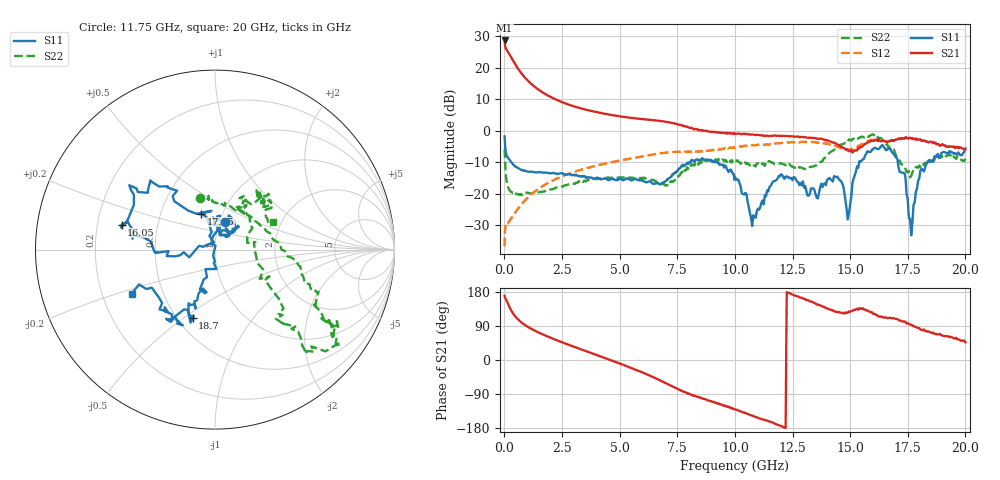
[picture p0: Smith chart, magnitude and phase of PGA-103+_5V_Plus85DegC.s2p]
!Mini-Circuits Laboratory
!S-Parameters, Port extension performed
!Model: PGA-103+
!Run / Lot / Date Code: N/A / BP170-001-01-101EV / 1210
!Fixture: TB-313
!Network Analyzer: PNA-X N5242A - 423 4 ports;  Serial number: 71013
!Date: 5/23/2012 at 10:41:20 AM
!S/N: Unit# 1
!Tested with: VDD=5V AT +85C
# Hz  S  dB  R  50
!Frequency  S11 dB  S11 Deg  S21 dB  S21 Deg  S12 dB  S12 Deg  S22 dB  S22 Deg
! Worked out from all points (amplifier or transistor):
!   660 points, 10 MHz to 20 GHz, reference 50 ohm
!   highest |S21| = 28.6 dB at 10 MHz (marker M1)
!   |S21| within 3 dB of that: start of sweep to 99.22 MHz
!   unconditionally stable (mu >= 1): 151.5 MHz to 15.21 GHz; 16.81 GHz to end of sweep
!   at 1.275 GHz: K = 1.12, MAG = 14.7 dB, |S12| = -19.5 dB
!   at 6.775 GHz: K = 1.06, MAG = 3.7 dB, |S12| = -7.1 dB
!   at 20 GHz: K = 1.49, MAG = -4.1 dB, |S12| = -5.9 dB
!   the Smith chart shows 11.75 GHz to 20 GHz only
!   S11 on the Smith chart (normalised r, x): 11.75 GHz: 1.06, +0.33; 16.05 GHz: 0.30, +0.12; 17.35 GHz: 0.80, +0.34; 18.7 GHz: 0.60, -0.54; 20 GHz: 0.33, -0.22
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1e7  -1.79 -20.0  28.65 169.4  -36.57 73.8  -5.82 -25.1
5e7  -6.24 -34.0  26.35 162.1  -29.79 29.1  -12.60 -43.6
7e7  -7.12 -35.5  25.99 160.3  -30.03 23.6  -14.46 -41.4
2e8  -8.97 -58.9  24.49 142.1  -28.78 28.3  -18.56 -30.0
3.3e8  -10.20 -81.1  22.81 127.2  -27.42 37.8  -19.54 -26.2
5.1e8  -11.42 -105.9  20.58 112.3  -25.45 44.9  -20.06 -21.2
7.5e8  -12.47 -129.2  18.09 98.6  -23.25 50.0  -20.23 -23.8
1.125e9  -12.97 -151.3  15.13 83.7  -20.44 52.0  -19.85 -28.8
1.7e9  -13.26 -171.9  11.98 66.6  -17.34 48.9  -19.27 -43.8
3.35e9  -14.51 155.3  7.01 27.5  -12.32 27.9  -16.36 -75.6
6.675e9  -16.79 68.8  3.19 -51.5  -7.24 -37.0  -16.35 -161.8
1.005e10  -15.51 -67.4  -0.94 -130.8  -5.17 -117.3  -9.55 80.2
1.08e10  -26.75 -25.9  -1.14 -148.3  -4.50 -136.4  -10.88 88.2
1.175e10  -15.87 70.5  -1.50 -168.2  -3.98 -158.0  -10.46 105.8
1.335e10  -18.25 58.1  -2.25 153.8  -3.59 162.0  -11.30 41.7
1.49e10  -28.11 116.3  -6.22 124.7  -5.99 135.9  -3.26 -30.6
1.605e10  -5.37 165.0  -3.08 121.6  -2.84 122.2  -1.37 -38.8
1.67e10  -5.55 133.2  -3.36 110.8  -3.33 110.9  -5.03 -47.5
1.735e10  -13.36 110.5  -2.48 101.6  -2.45 101.8  -11.27 -20.7
1.765e10  -33.13 82.6  -2.41 92.4  -2.42 92.4  -14.25 22.1
1.87e10  -7.93 -108.0  -3.84 68.5  -3.90 68.5  -8.23 48.6
2e10  -5.60 -152.1  -5.83 46.9  -5.86 47.2  -8.89 25.8
